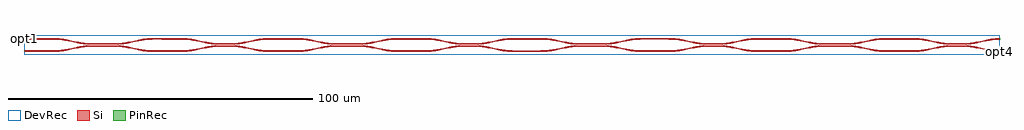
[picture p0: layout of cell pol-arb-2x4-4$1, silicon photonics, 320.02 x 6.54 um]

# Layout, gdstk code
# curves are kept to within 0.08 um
import gdstk
lib = gdstk.Library(unit=1e-6, precision=1e-09)
def R(c, l, rs):  # rectangles x0, y0, x1, y1
    for r in rs: c.add(gdstk.rectangle(r[:2], r[2:], *l))
def P(c, l, *ps):  # polygons
    for p in ps: c.add(gdstk.Polygon(p, *l))
Si = (1, 0)
PinRec = (1, 10)
DevRec = (68, 0)

layer_0_0_phase_sec_0_11 = lib.new_cell('layer-0_0_phase_sec_0$11')
P(layer_0_0_phase_sec_0_11, Si, [(3.107,-0.244),(0,-0.225),(0,0.225),(10,0.225),(10,-0.225)])

layer_0_0_phase_sec_1_11 = lib.new_cell('layer-0_0_phase_sec_1$11')
P(layer_0_0_phase_sec_1_11, Si, [(0,-0.225),(0,0.225),(10,0.225),(10,-0.225)])

dc_arm_up_8_11 = lib.new_cell('dc_arm_up_8$11')
R(dc_arm_up_8_11, Si, [(12,0.1,20,0.55)])
P(dc_arm_up_8_11, Si, [(20,0.1),(20,0.55),(21.481,0.613),(22.966,0.793),(29.344,2.033),(30.861,2.188),(32,2.225),(32,1.775),(30.519,1.712),(29.034,1.532),(22.656,0.292),(21.139,0.137)],
  [(12,0.1),(10.861,0.137),(9.344,0.292),(2.966,1.532),(1.481,1.712),(0,1.775),(0,2.225),(1.139,2.188),(2.656,2.033),(9.034,0.793),(10.519,0.613),(12,0.55)])

dc_arm_down_8_11 = lib.new_cell('dc_arm_down_8$11')
R(dc_arm_down_8_11, Si, [(12,-0.55,20,-0.1)])
P(dc_arm_down_8_11, Si, [(32,-2.225),(30.861,-2.188),(29.344,-2.033),(22.966,-0.793),(21.481,-0.613),(20,-0.55),(20,-0.1),(21.139,-0.137),(22.656,-0.292),(29.034,-1.532),(30.519,-1.712),(32,-1.775)],
  [(0,-2.225),(0,-1.775),(1.481,-1.712),(2.966,-1.532),(9.344,-0.292),(10.861,-0.137),(12,-0.1),(12,-0.55),(10.519,-0.613),(9.034,-0.793),(2.656,-2.033),(1.139,-2.188)])

dc_8_11 = lib.new_cell('dc_8$11')
dc_8_11.add(gdstk.Reference(dc_arm_up_8_11, (0,0)))
dc_8_11.add(gdstk.Reference(dc_arm_down_8_11, (0,0)))

layer_0_0_phase_sec_2_11 = lib.new_cell('layer-0_0_phase_sec_2$11')
P(layer_0_0_phase_sec_2_11, Si, [(0,-0.225),(0,0.225),(10,0.225),(10,-0.225)])

layer_0_0_phase_sec_3_11 = lib.new_cell('layer-0_0_phase_sec_3$11')
P(layer_0_0_phase_sec_3_11, Si, [(3.126,-0.255),(0,-0.225),(0,0.225),(10,0.225),(10,-0.225)])

dc_arm_up_4_11 = lib.new_cell('dc_arm_up_4$11')
R(dc_arm_up_4_11, Si, [(12,0.1,16,0.55)])
P(dc_arm_up_4_11, Si, [(16,0.1),(16,0.55),(17.481,0.613),(18.966,0.793),(25.344,2.033),(26.861,2.188),(28,2.225),(28,1.775),(26.519,1.712),(25.034,1.532),(18.656,0.292),(17.139,0.137)],
  [(12,0.1),(10.861,0.137),(9.344,0.292),(2.966,1.532),(1.481,1.712),(0,1.775),(0,2.225),(1.139,2.188),(2.656,2.033),(9.034,0.793),(10.519,0.613),(12,0.55)])

dc_arm_down_4_11 = lib.new_cell('dc_arm_down_4$11')
R(dc_arm_down_4_11, Si, [(12,-0.55,16,-0.1)])
P(dc_arm_down_4_11, Si, [(28,-2.225),(26.861,-2.188),(25.344,-2.033),(18.966,-0.793),(17.481,-0.613),(16,-0.55),(16,-0.1),(17.139,-0.137),(18.656,-0.292),(25.034,-1.532),(26.519,-1.712),(28,-1.775)],
  [(0,-2.225),(0,-1.775),(1.481,-1.712),(2.966,-1.532),(9.344,-0.292),(10.861,-0.137),(12,-0.1),(12,-0.55),(10.519,-0.613),(9.034,-0.793),(2.656,-2.033),(1.139,-2.188)])

dc_4_11 = lib.new_cell('dc_4$11')
dc_4_11.add(gdstk.Reference(dc_arm_up_4_11, (0,0)))
dc_4_11.add(gdstk.Reference(dc_arm_down_4_11, (0,0)))

layer_1_0_phase_sec_0_11 = lib.new_cell('layer-1_0_phase_sec_0$11')
P(layer_1_0_phase_sec_0_11, Si, [(4.672,-0.242),(0,-0.225),(0,0.225),(10,0.225),(10,-0.225)])

layer_1_0_phase_sec_3_11 = lib.new_cell('layer-1_0_phase_sec_3$11')
P(layer_1_0_phase_sec_3_11, Si, [(0,-0.225),(0,0.225),(10,0.225),(10,-0.225)])

layer_2_0_phase_sec_0_11 = lib.new_cell('layer-2_0_phase_sec_0$11')
P(layer_2_0_phase_sec_0_11, Si, [(6.234,-0.269),(0,-0.225),(0,0.225),(10,0.225),(10,-0.225)])

layer_2_0_phase_sec_1_11 = lib.new_cell('layer-2_0_phase_sec_1$11')
P(layer_2_0_phase_sec_1_11, Si, [(0,-0.225),(0,0.225),(1.576,0.175),(6.304,0.175),(7.88,0.176),(9.456,0.225),(10,0.225),(10,-0.225),(9.456,-0.225),(7.88,-0.176),(6.304,-0.175),(1.576,-0.175)])

layer_2_0_phase_sec_2_11 = lib.new_cell('layer-2_0_phase_sec_2$11')
P(layer_2_0_phase_sec_2_11, Si, [(0,-0.225),(0,0.225),(3.112,0.178),(10,0.225),(10,-0.225),(3.112,-0.178)])

layer_2_0_phase_sec_3_11 = lib.new_cell('layer-2_0_phase_sec_3$11')
P(layer_2_0_phase_sec_3_11, Si, [(1.561,-0.276),(0,-0.225),(0,0.225),(1.561,0.276),(10,0.225),(10,-0.225)])

layer_3_0_phase_sec_3_11 = lib.new_cell('layer-3_0_phase_sec_3$11')
P(layer_3_0_phase_sec_3_11, Si, [(4.712,-0.275),(0,-0.225),(0,0.225),(4.712,0.275),(10,0.225),(10,-0.225)])

layer_3_0_phase_sec_0_11 = lib.new_cell('layer-3_0_phase_sec_0$11')
P(layer_3_0_phase_sec_0_11, Si, [(6.231,-0.24),(0,-0.225),(0,0.225),(10,0.225),(10,-0.225)])

layer_1_0_phase_sec_2_11 = lib.new_cell('layer-1_0_phase_sec_2$11')
P(layer_1_0_phase_sec_2_11, Si, [(0,-0.225),(0,0.225),(10,0.225),(10,-0.225)])

layer_3_0_phase_sec_2_11 = lib.new_cell('layer-3_0_phase_sec_2$11')
P(layer_3_0_phase_sec_2_11, Si, [(0,-0.225),(0,0.225),(10,0.225),(10,-0.225)])

layer_1_0_phase_sec_1_11 = lib.new_cell('layer-1_0_phase_sec_1$11')
P(layer_1_0_phase_sec_1_11, Si, [(0,-0.225),(0,0.225),(10,0.225),(10,-0.225)])

layer_3_0_phase_sec_1_11 = lib.new_cell('layer-3_0_phase_sec_1$11')
P(layer_3_0_phase_sec_1_11, Si, [(0,-0.225),(0,0.225),(10,0.225),(10,-0.225)])

pol_arb_2x4_4_1 = lib.new_cell('pol-arb-2x4-4$1')
R(pol_arb_2x4_4_1, DevRec, [(0,-1,320,5.545)])
pol_arb_2x4_4_1.add(gdstk.FlexPath([(319.99,0.276),(320.01,0.276)], 0.45, ends="flush", simple_path=True, layer=1, datatype=10))  # PinRec
pol_arb_2x4_4_1.add(gdstk.FlexPath([(319.99,4.276),(320.01,4.276)], 0.45, ends="flush", simple_path=True, layer=1, datatype=10))  # PinRec
pol_arb_2x4_4_1.add(gdstk.FlexPath([(0.01,0.276),(-0.01,0.276)], 0.45, ends="flush", simple_path=True, layer=1, datatype=10))  # PinRec
pol_arb_2x4_4_1.add(gdstk.FlexPath([(0.01,4.276),(-0.01,4.276)], 0.45, ends="flush", simple_path=True, layer=1, datatype=10))  # PinRec
pol_arb_2x4_4_1.add(gdstk.Reference(layer_0_0_phase_sec_0_11, (0,4.276)))
pol_arb_2x4_4_1.add(gdstk.Reference(layer_0_0_phase_sec_1_11, (0,0.276)))
pol_arb_2x4_4_1.add(gdstk.Reference(dc_8_11, (10,2.276)))
pol_arb_2x4_4_1.add(gdstk.Reference(dc_8_11, (90,2.276)))
pol_arb_2x4_4_1.add(gdstk.Reference(dc_8_11, (170,2.276)))
pol_arb_2x4_4_1.add(gdstk.Reference(dc_8_11, (250,2.276)))
pol_arb_2x4_4_1.add(gdstk.Reference(layer_0_0_phase_sec_2_11, (42,4.276)))
pol_arb_2x4_4_1.add(gdstk.Reference(layer_0_0_phase_sec_3_11, (42,0.276)))
pol_arb_2x4_4_1.add(gdstk.Reference(dc_4_11, (52,2.276)))
pol_arb_2x4_4_1.add(gdstk.Reference(dc_4_11, (132,2.276)))
pol_arb_2x4_4_1.add(gdstk.Reference(dc_4_11, (212,2.276)))
pol_arb_2x4_4_1.add(gdstk.Reference(dc_4_11, (292,2.276)))
pol_arb_2x4_4_1.add(gdstk.Reference(layer_1_0_phase_sec_0_11, (80,4.276)))
pol_arb_2x4_4_1.add(gdstk.Reference(layer_1_0_phase_sec_3_11, (122,0.276)))
pol_arb_2x4_4_1.add(gdstk.Reference(layer_2_0_phase_sec_0_11, (160,4.276)))
pol_arb_2x4_4_1.add(gdstk.Reference(layer_2_0_phase_sec_1_11, (160,0.276)))
pol_arb_2x4_4_1.add(gdstk.Reference(layer_2_0_phase_sec_2_11, (202,4.276)))
pol_arb_2x4_4_1.add(gdstk.Reference(layer_2_0_phase_sec_3_11, (202,0.276)))
pol_arb_2x4_4_1.add(gdstk.Reference(layer_3_0_phase_sec_3_11, (282,0.276)))
pol_arb_2x4_4_1.add(gdstk.Reference(layer_3_0_phase_sec_0_11, (240,4.276)))
pol_arb_2x4_4_1.add(gdstk.Reference(layer_1_0_phase_sec_2_11, (122,4.276)))
pol_arb_2x4_4_1.add(gdstk.Reference(layer_3_0_phase_sec_2_11, (282,4.276)))
pol_arb_2x4_4_1.add(gdstk.Reference(layer_1_0_phase_sec_1_11, (80,0.276)))
pol_arb_2x4_4_1.add(gdstk.Reference(layer_3_0_phase_sec_1_11, (240,0.276)))
pol_arb_2x4_4_1.add(gdstk.Label('opt4', (320,0.276), layer=1, texttype=10))
pol_arb_2x4_4_1.add(gdstk.Label('opt3', (320,4.276), layer=1, texttype=10))
pol_arb_2x4_4_1.add(gdstk.Label('opt1', (0,4.276), layer=1, texttype=10))
pol_arb_2x4_4_1.add(gdstk.Label('opt2', (0,0.276), layer=1, texttype=10))

lib.write_gds('pol-arb-2x4-4_1.gds')
